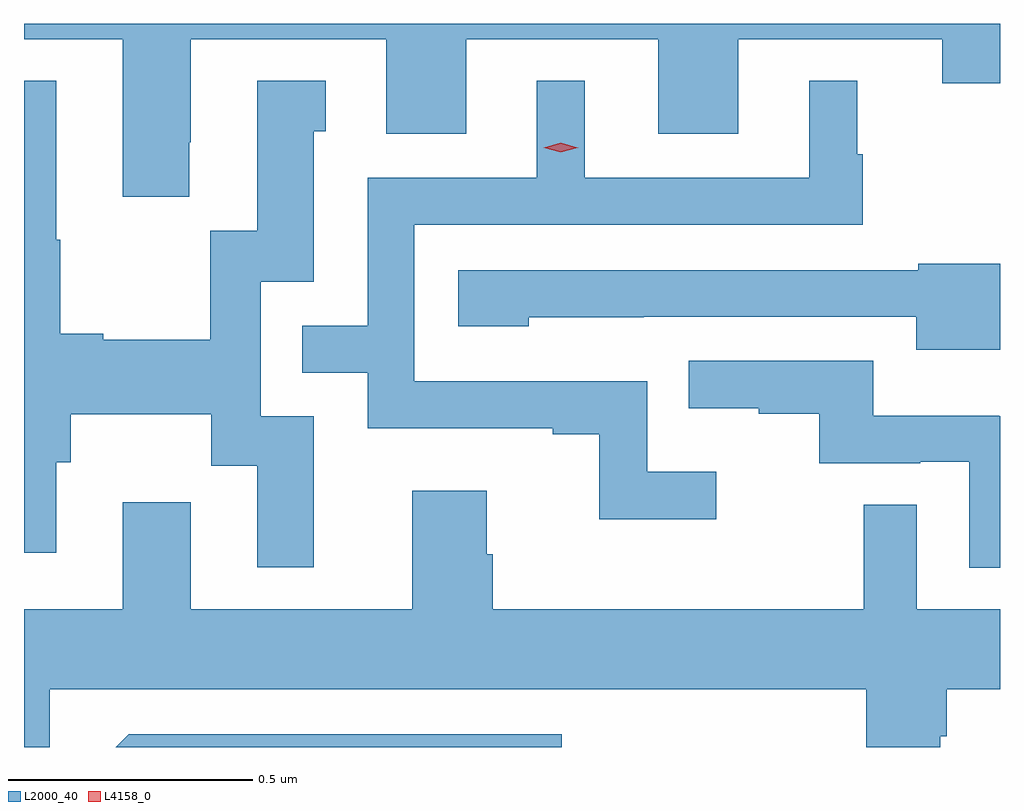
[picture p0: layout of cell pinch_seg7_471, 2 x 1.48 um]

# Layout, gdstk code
import gdstk
lib = gdstk.Library(unit=1e-6, precision=1e-09)
def P(c, l, *ps):  # polygons
    for p in ps: c.add(gdstk.Polygon(p, *l))
L2000_40 = (2000, 40)
L4158_0 = (4158, 0)

pinch_seg7_471 = lib.new_cell('pinch_seg7_471')
P(pinch_seg7_471, L2000_40, [(306.148,1081.657),(306.151,1081.657),(306.151,1081.868),(306.551,1081.868),(306.551,1081.674),(306.715,1081.674),(306.715,1081.868),(307.109,1081.868),(307.109,1081.674),(307.273,1081.674),(307.273,1081.868),(307.691,1081.868),(307.691,1081.778),(307.809,1081.778),(307.809,1081.9),(305.809,1081.9),(305.809,1081.868),(306.011,1081.868),(306.011,1081.545),(306.148,1081.545)],
  [(306.403,1081.095),(306.294,1081.095),(306.294,1081.371),(306.403,1081.371),(306.403,1081.68),(306.427,1081.68),(306.427,1081.783),(306.287,1081.783),(306.287,1081.476),(306.191,1081.476),(306.191,1081.252),(305.971,1081.252),(305.971,1081.265),(305.883,1081.265),(305.883,1081.457),(305.875,1081.457),(305.875,1081.783),(305.809,1081.783),(305.809,1080.816),(305.875,1080.816),(305.875,1081.001),(305.905,1081.001),(305.905,1081.1),(306.193,1081.1),(306.193,1080.994),(306.287,1080.994),(306.287,1080.786),(306.403,1080.786)],
  [(307.228,1080.982),(307.086,1080.982),(307.086,1081.167),(306.609,1081.167),(306.609,1081.488),(307.528,1081.488),(307.528,1081.632),(307.516,1081.632),(307.516,1081.783),(307.418,1081.783),(307.418,1081.584),(306.958,1081.584),(306.958,1081.783),(306.86,1081.783),(306.86,1081.584),(306.513,1081.584),(306.513,1081.281),(306.379,1081.281),(306.379,1081.185),(306.513,1081.185),(306.513,1081.071),(306.893,1081.071),(306.893,1081.059),(306.988,1081.059),(306.988,1080.884),(307.228,1080.884)],
  [(307.809,1081.408),(307.641,1081.408),(307.641,1081.395),(306.699,1081.395),(306.699,1081.28),(306.843,1081.28),(306.843,1081.298),(307.079,1081.298),(307.079,1081.299),(307.637,1081.299),(307.637,1081.232),(307.809,1081.232)],
  [(307.809,1081.095),(307.807,1081.097),(307.549,1081.097),(307.549,1081.209),(307.171,1081.209),(307.171,1081.112),(307.315,1081.112),(307.315,1081.101),(307.439,1081.101),(307.439,1080.999),(307.646,1080.999),(307.646,1081.002),(307.746,1081.002),(307.746,1080.785),(307.809,1080.785)],
  [(305.862,1080.536),(307.535,1080.536),(307.535,1080.417),(307.687,1080.417),(307.687,1080.44),(307.7,1080.44),(307.7,1080.536),(307.809,1080.536),(307.809,1080.7),(307.638,1080.7),(307.638,1080.914),(307.53,1080.914),(307.53,1080.7),(306.77,1080.7),(306.77,1080.813),(306.757,1080.813),(306.757,1080.943),(306.605,1080.943),(306.605,1080.7),(306.151,1080.7),(306.151,1080.919),(306.011,1080.919),(306.011,1080.7),(305.809,1080.7),(305.809,1080.417),(305.862,1080.417)],
  [(306.911,1080.444),(306.024,1080.444),(305.997,1080.417),(306.911,1080.417)])
P(pinch_seg7_471, L4158_0, [(306.909,1081.636),(306.874,1081.646),(306.873,1081.646),(306.874,1081.646),(306.909,1081.656),(306.944,1081.646),(306.945,1081.646),(306.944,1081.646)])

lib.write_gds('pinch_seg7_471.gds')
